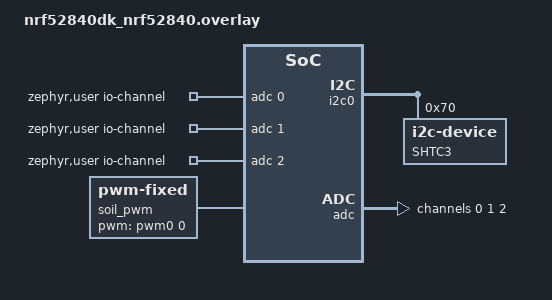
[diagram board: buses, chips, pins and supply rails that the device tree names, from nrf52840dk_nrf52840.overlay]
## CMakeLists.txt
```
cmake_minimum_required(VERSION 3.20.0)

# Pull in the dts/ and boards/ from prstlib.
set(DTS_ROOT ${CMAKE_CURRENT_SOURCE_DIR}/../../prstlib)
set(BOARD_ROOT ${CMAKE_CURRENT_SOURCE_DIR}/../../prstlib)

find_package(Zephyr REQUIRED HINTS $ENV{ZEPHYR_BASE})

project(ble)

include_directories(src)

target_sources(app PRIVATE
	src/main.c
	src/ble.c
	src/encoding.c
)

add_subdirectory(../../prstlib prstlib)
target_include_directories(app PRIVATE ../../prstlib/include)
target_link_libraries(app PUBLIC prstlib)
```

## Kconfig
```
source "Kconfig.zephyr"
rsource "../../prstlib/Kconfig"

config PRST_SLEEP_DURATION_MSEC
	int "Sleep duration in milliseconds"
	default 600000

config PRST_BLE_ADV_DURATION_MSEC
	int "Advertising duration in milliseconds"
	default 1000

config PRST_BLE_MIN_ADV_INTERVAL
	int "Minimum advertising interval in milliseconds"
	default 30

config PRST_BLE_MAX_ADV_INTERVAL
	int "Maximum advertising interval in milliseconds"
	default 40

choice PRST_BLE_ENCODING
	prompt "b-parasite BLE encoding"
	default PRST_BLE_ENCODING_BTHOME_V2

config PRST_BLE_ENCODING_BPARASITE_V2
	bool "Uses the custom b-parasite protocol v2 for encoding advertising packets"

config PRST_BLE_ENCODING_BTHOME_V1
	bool "Uses the BTHome (bthome.io) BLE encoding (v1)"

config PRST_BLE_ENCODING_BTHOME_V2
	bool "Uses the BTHome (bthome.io) BLE encoding (v2)"

endchoice  # PRST_BLE_ENCODING

config PRST_BLE_ENCODING_SERVICE_DATA_LEN
	int
	help
		Size of the service data buffer.
	default 20 if PRST_BLE_ENCODING_BPARASITE_V2
	default 18 if PRST_BLE_ENCODING_BTHOME_V1
	default 19 if PRST_BLE_ENCODING_BTHOME_V2


config PRST_BLE_HAS_USER_DEFINED_RANDOM_STATIC_ADDR
	bool "Whether to use a custom BLE address"

config PRST_BLE_USER_DEFINED_RANDOM_STATIC_ADDR
	string "Overrides the device's BT address"
	help
		This address has to be random static (e.g.: f0:ca:f0:ca:01:d5).
	depends on PRST_BLE_HAS_USER_DEFINED_RANDOM_STATIC_ADDR
```

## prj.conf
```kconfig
CONFIG_LOG=y
CONFIG_PWM=y
CONFIG_CBPRINTF_FP_SUPPORT=y
CONFIG_I2C=y
CONFIG_ADC=y
CONFIG_GPIO=y

CONFIG_BT=y
CONFIG_BT_PERIPHERAL=y
CONFIG_BT_DEVICE_NAME="prst"
CONFIG_BT_CTLR_TX_PWR_PLUS_8=y

CONFIG_SERIAL=n

CONFIG_USE_SEGGER_RTT=y

CONFIG_NEWLIB_LIBC=y
CONFIG_NEWLIB_LIBC_FLOAT_PRINTF=y

CONFIG_ASSERT=y

# Application config - see all options in Kconfig.

# The amount of time it sleeps between sending data.
CONFIG_PRST_SLEEP_DURATION_MSEC=600000

# Choose one of the following encoding options:
CONFIG_PRST_BLE_ENCODING_BTHOME_V2=y
# CONFIG_PRST_BLE_ENCODING_BTHOME_V1=y
# CONFIG_PRST_BLE_ENCODING_BPARASITE_V2=y

# prstlib config - ser all options in prstlib/Kconfig.
# CONFIG_PRSTLIB_LOG_LEVEL_DBG=y
```

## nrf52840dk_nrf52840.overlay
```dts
&pinctrl {
	/* Configure pwm0 instance to use pin 5. */
	pwm0_default: pwm0_default {
		group1 {
			psels = <NRF_PSEL(PWM_OUT0, 0, 5)>;
			nordic,invert;
		};
	};

	pwm0_sleep: pwm0_sleep {
		group1 {
			psels = <NRF_PSEL(PWM_OUT0, 0, 5)>;
			low-power-enable;
		};
	};

	/* Configure i2c0 instance to use pins 24 (SDA) & 13 (SCL). */
	i2c0_default: i2c0_default {
		group1 {
			psels = <NRF_PSEL(TWIM_SDA, 0, 24)>,
							<NRF_PSEL(TWIM_SCL, 0, 13)>;
		};
	};

	i2c0_sleep: i2c0_sleep {
		group1 {
			psels = <NRF_PSEL(TWIM_SDA, 0, 24)>,
							<NRF_PSEL(TWIM_SCL, 0, 13)>;
			low-power-enable;
		};
	};
};

&i2c0 {
	shtc3: shtc3@70 {
		compatible = "i2c-device";
		reg = <0x70>;
		label = "SHTC3";
	};
};

&adc {
	#address-cells = <1>;
	#size-cells = <0>;
	channel@0 {
		reg = <0>;
		zephyr,gain = "ADC_GAIN_1_6";
		zephyr,reference = "ADC_REF_INTERNAL";
		zephyr,acquisition-time = <ADC_ACQ_TIME_DEFAULT>;
		// P0.03.
		zephyr,input-positive = <NRF_SAADC_AIN1>;
		zephyr,resolution = <10>;

	};

	channel@1 {
		reg = <1>;
		zephyr,gain = "ADC_GAIN_1_6";
		zephyr,reference = "ADC_REF_INTERNAL";
		zephyr,acquisition-time = <ADC_ACQ_TIME_DEFAULT>;
		// P0.02.
		zephyr,input-positive = <NRF_SAADC_AIN0>;
		zephyr,resolution = <10>;
	};

	channel@2 {
		reg = <2>;
		zephyr,gain = "ADC_GAIN_1_6";
		zephyr,reference = "ADC_REF_INTERNAL";
		zephyr,acquisition-time = <ADC_ACQ_TIME_DEFAULT>;
		zephyr,input-positive = <NRF_SAADC_VDD>;
		zephyr,resolution = <10>;
	};
};

/ {
	zephyr,user {
		io-channels = <&adc 0>, <&adc 1>, <&adc 2>;
	};

	soil_pwm: soil_pwm {
		compatible = "pwm-fixed";
		pwms = <&pwm0 0 PWM_MSEC(100) PWM_POLARITY_INVERTED>;
		pulse = <PWM_MSEC(50)>;
	};
};
```

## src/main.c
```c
#include <prstlib/adc.h>
#include <prstlib/button.h>
#include <prstlib/led.h>
#include <prstlib/macros.h>
#include <prstlib/sensors.h>
#include <prstlib/shtc3.h>
#include <zephyr/kernel.h>
#include <zephyr/logging/log.h>
#include <zephyr/pm/device.h>
#include <zephyr/pm/pm.h>
#include <zephyr/pm/policy.h>

#include "ble.h"

LOG_MODULE_REGISTER(main, LOG_LEVEL_DBG);

static int prst_init() {
  RET_IF_ERR(prst_adc_init());
  RET_IF_ERR(prst_led_init());
  RET_IF_ERR(prst_button_init());
  RET_IF_ERR(prst_ble_init());
  return 0;
}

static void dump_config() {
#if IS_ENABLED(CONFIG_PRST_BLE_ENCODING_BTHOME_V2)
  LOG_INF("Payload encoding: BTHOME_V2");
#elif IS_ENABLED(CONFIG_PRST_BLE_ENCODING_BTHOME_V1)
  LOG_INF("Payload encoding: BTHOME_V1");
#elif IS_ENABLED(CONFIG_PRST_BLE_ENCODING_BPARASITE_V2)
  LOG_INF("Payload encoding: BPARASITE_V2");
#else
#error "Unhandled CONFIG_PRST_BLE_ENCODING_ choice in dump_config()"
#endif

  LOG_INF("Sleep duration: %d ms", CONFIG_PRST_SLEEP_DURATION_MSEC);
}

static int prst_loop(prst_sensors_t *sensors) {
  RET_IF_ERR(prst_sensors_read_all(sensors));
  RET_IF_ERR(prst_ble_adv_set_data(sensors));
  RET_IF_ERR(prst_ble_adv_start());
  k_msleep(CONFIG_PRST_BLE_ADV_DURATION_MSEC);
  RET_IF_ERR(prst_ble_adv_stop());
  return 0;
}

int main(void) {
  __ASSERT(!prst_init(), "Error in prst_init()");
  prst_led_flash(2);

  dump_config();

  prst_sensors_t sensors;
  while (true) {
    __ASSERT(!prst_loop(&sensors), "Error in prst_loop()");
    k_msleep(CONFIG_PRST_SLEEP_DURATION_MSEC);
  }
}
```

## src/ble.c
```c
#include "ble.h"

#include <prstlib/macros.h>
#include <zephyr/bluetooth/bluetooth.h>
#include <zephyr/logging/log.h>
#include <zephyr/settings/settings.h>

#include "encoding.h"

LOG_MODULE_REGISTER(ble, LOG_LEVEL_INF);

static uint8_t service_data[CONFIG_PRST_BLE_ENCODING_SERVICE_DATA_LEN] = {0};

static const struct bt_data ad[] = {
    BT_DATA_BYTES(BT_DATA_FLAGS, (BT_LE_AD_GENERAL | BT_LE_AD_NO_BREDR)),
    BT_DATA(BT_DATA_SVC_DATA16, service_data, ARRAY_SIZE(service_data)),
    BT_DATA_BYTES(BT_DATA_NAME_COMPLETE, CONFIG_BT_DEVICE_NAME),
};

static bt_addr_le_t mac_addr;

static int set_user_defined_bt_addr(const char *addr_str) {
  bt_addr_le_t addr;
  RET_IF_ERR(bt_addr_le_from_str(addr_str, "random", &addr));
  RET_IF_ERR(bt_id_create(&addr, NULL));
  return 0;
}

// bt_addr_le_t.a holds the MAC address in big-endian.
static int get_mac_addr(bt_addr_le_t *out) {
  struct bt_le_oob oob;
  RET_IF_ERR(bt_le_oob_get_local(BT_ID_DEFAULT, &oob));
  const uint8_t *addr = oob.addr.a.val;
  LOG_INF("MAC Address: %02x:%02x:%02x:%02x:%02x:%02x",
          addr[5], addr[4], addr[3], addr[2], addr[1], addr[0]);
  *out = oob.addr;
  return 0;
}

int prst_ble_init() {
#if CONFIG_PRST_BLE_HAS_USER_DEFINED_RANDOM_STATIC_ADDR
  RET_IF_ERR(set_user_defined_bt_addr(CONFIG_PRST_BLE_USER_DEFINED_RANDOM_STATIC_ADDR));
#else
  UNUSED_OK(set_user_defined_bt_addr);
#endif  // PRST_BLE_HAS_USER_DEFINED_MAC_ADDR

  RET_IF_ERR(bt_enable(/*bt_reader_cb_t=*/NULL));
  if (IS_ENABLED(CONFIG_SETTINGS)) {
    RET_IF_ERR_MSG(settings_load(), "Error in settings_load()");
  }

  RET_IF_ERR(get_mac_addr(&mac_addr));
  return 0;
}

#define PRST_MS_TO_INTERVAL(value_ms) ((uint16_t)(value_ms) / 0.625f)

int prst_ble_adv_start() {
  return bt_le_adv_start(
      BT_LE_ADV_PARAM(
          BT_LE_ADV_OPT_USE_IDENTITY,
          PRST_MS_TO_INTERVAL(CONFIG_PRST_BLE_MIN_ADV_INTERVAL),
          PRST_MS_TO_INTERVAL(CONFIG_PRST_BLE_MAX_ADV_INTERVAL),
          /*_peer=*/NULL),
      ad,
      ARRAY_SIZE(ad),
      // sd == NULL is required to set advertising to non-connectable. See
      // https://github.com/zephyrproject-rtos/zephyr/blob/c0fcd35531611bbe35376c62a9e50744d6904940/subsys/bluetooth/host/adv.c#L860
      /*sd=*/NULL,
      /*sd_len=*/0);
}

int prst_ble_adv_stop() {
  return bt_le_adv_stop();
}

int prst_ble_adv_set_data(const prst_sensors_t *sensors) {
  return prst_ble_encode_service_data(sensors, &mac_addr, service_data,
                                      sizeof(service_data));
}
```

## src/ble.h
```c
#ifndef _PRST_BLE_BLE_H_
#define _PRST_BLE_BLE_H_

#include <prstlib/sensors.h>

int prst_ble_init();
int prst_ble_adv_start();
int prst_ble_adv_stop();
int prst_ble_adv_set_data(const prst_sensors_t *sensors);

#endif  // _PRST_BLE_BLE_H_
```

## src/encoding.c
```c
#include "encoding.h"

#include <prstlib/macros.h>
#include <zephyr/logging/log.h>

LOG_MODULE_DECLARE(ble, LOG_LEVEL_INF);

int prst_ble_encode_service_data(const prst_sensors_t* sensors,
                                 const bt_addr_le_t* bt_addr, uint8_t* out,
                                 uint8_t out_len) {
  RET_CHECK(out_len >= CONFIG_PRST_BLE_ENCODING_SERVICE_DATA_LEN,
            "Buffer is not large enough");

#if CONFIG_PRST_BLE_ENCODING_BPARASITE_V2
  // 0x181a - Environmental sensing service UUID.
  out[0] = 0x1a;
  out[1] = 0x18;
  // Four bits for the protocol version.
  out[2] |= (2 << 4) & 0xf0;
  // Bit 0 of byte 0 specifies whether or not ambient light data exists in the
  // payload.
#if DT_NODE_EXISTS(DT_NODELABEL(photo_transistor)) || DT_NODE_EXISTS(DT_NODELABEL(ldr))
  out[2] |= 1;
#endif
  // 4 bits for a small wrap-around counter for deduplicating messages on the
  // receiver.

  static uint8_t run_counter;

  out[3] = run_counter++ & 0x0f;
  out[4] = sensors->batt.adc_read.millivolts >> 8;
  out[5] = sensors->batt.adc_read.millivolts & 0xff;
  int16_t temp_centicelsius = 100 * sensors->shtc3.temp_c;
  out[6] = temp_centicelsius >> 8;
  out[7] = temp_centicelsius & 0xff;
  uint16_t humi = sensors->shtc3.rel_humi * UINT16_MAX;
  out[8] = humi >> 8;
  out[9] = humi & 0xff;
  uint16_t soil_moisture = sensors->soil.percentage * UINT16_MAX;
  out[10] = soil_moisture >> 8;
  out[11] = soil_moisture & 0xff;
  // MAC address in big-endian.
  memcpy(out + 12, bt_addr->a.val, BT_ADDR_SIZE);
  out[18] = sensors->photo.brightness >> 8;
  out[19] = sensors->photo.brightness & 0xff;

// https://bthome.io/v1/
#elif CONFIG_PRST_BLE_ENCODING_BTHOME_V1

  // 0x181c - User data service UUID.
  out[0] = 0x1c;
  out[1] = 0x18;

  // 1. Soil moisture.
  // uint16_t.
  out[2] = (0b000 << 5) | 3;
  // Type of measurement - Moisture.
  out[3] = 0x14;
  // Value. Factor of 0.01, so we need to multiply our the value in 100% by
  // 1/0.01 = 100.
  uint16_t soil_val = 10000 * sensors->soil.percentage;
  out[4] = soil_val & 0xff;
  out[5] = soil_val >> 8;
  // 2. Temp.
  // int16_t.
  out[6] = (0b001 << 5) | 3;
  // Type of measurement - temperature.
  out[7] = 0x02;
  // Value. Factor 0.01.
  int16_t temp_val = 100 * sensors->shtc3.temp_c;
  out[8] = temp_val & 0xff;
  out[9] = temp_val >> 8;
  // 3. Humidity
  // uint16_t.
  out[10] = (0b000 << 5) | 3;
  // Type - humidity.
  out[11] = 0x03;
  // Value. Factor 0.01, over 100%.
  uint16_t humi_val = 10000 * sensors->shtc3.rel_humi;
  out[12] = humi_val & 0xff;
  out[13] = humi_val >> 8;
  // 4. Battery voltage.
  // uint16_t.
  out[14] = (0b000 << 5) | 3;
  // Type - voltage.
  out[15] = 0x0c;
  // Value. Factor of 0.001.
  uint16_t batt_val = sensors->batt.adc_read.millivolts;
  out[16] = batt_val & 0xff;
  out[17] = batt_val >> 8;

// https://bthome.io/format/
#elif CONFIG_PRST_BLE_ENCODING_BTHOME_V2
  // 0xfcd2 - bthome.io service UUID.
  out[0] = 0xd2;
  out[1] = 0xfc;

  // Service header - no encryption, bt home v2.
  out[2] = 0x40;

  // Temperature.
  out[3] = 0x02;
  int16_t temp_val = 100 * sensors->shtc3.temp_c;
  out[4] = temp_val & 0xff;
  out[5] = temp_val >> 8;
  // Humidity.
  out[6] = 0x2E;
  // Value. Factor 1 over 100%.
  uint8_t humi_val = 100 * sensors->shtc3.rel_humi + 0.5f;
  out[7] = humi_val;
  // Illuminance.
  out[8] = 0x05;
  // Value. Factor of 0.01.
  uint32_t lux_val = sensors->photo.brightness * 100;
  out[9] = lux_val & 0xff;
  out[10] = (lux_val >> 8) & 0xff;
  out[11] = (lux_val >> 16) & 0xff;
  // Battery voltage.
  out[12] = 0x0c;
  // Value. Factor of 0.001.
  uint16_t batt_val = sensors->batt.adc_read.millivolts;
  out[13] = batt_val & 0xff;
  out[14] = batt_val >> 8;
  // Soil moisture.
  out[15] = 0x2F;
  // Factor of 1 over 100%
  uint8_t soil_val = 100 * sensors->soil.percentage + 0.5f;
  out[16] = soil_val;
  // Battery percentage.
  out[17] = 0x01;
  // Value. Factor 1 over 100%
  uint8_t batt_percentage_val = 100 * sensors->batt.percentage + 0.5f;
  out[18] = batt_percentage_val;

  // Misc packet-id  
  static uint8_t run_counter;
  out[19] = 0x00;
  out[20] = run_counter++ & 0xFF;

#endif  // Encoding protocols

  LOG_HEXDUMP_DBG(out, out_len, "Encoded BLE adv: ");
  return 0;
}
```

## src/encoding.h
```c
#ifndef _PRST_BLE_ENCODING_H_
#define _PRST_BLE_ENCODING_H_

#include <prstlib/sensors.h>
#include <zephyr/bluetooth/bluetooth.h>

int prst_ble_encode_service_data(const prst_sensors_t* sensors,
                                 const bt_addr_le_t* bt_addr, uint8_t* out,
                                 uint8_t out_len);

#endif  // _PRST_BLE_ENCODING_H_
```
